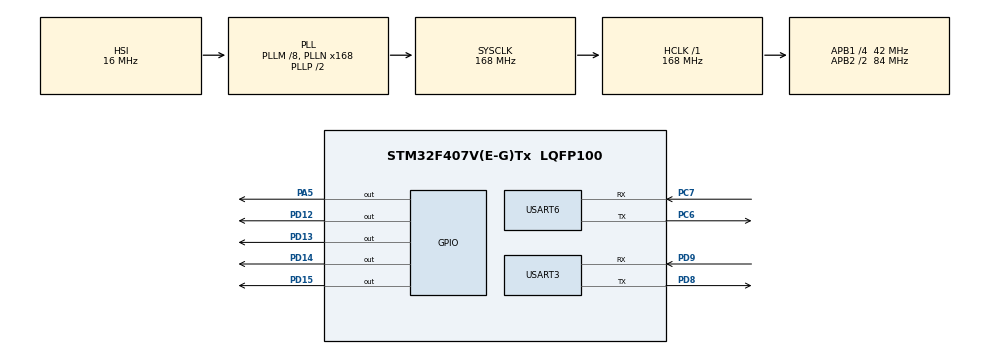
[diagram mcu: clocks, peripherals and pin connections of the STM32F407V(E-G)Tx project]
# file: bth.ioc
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Mcu.Family=STM32F4
Mcu.Name=STM32F407V(E-G)Tx
Mcu.Package=LQFP100
NVIC.PriorityGroup=NVIC_PRIORITYGROUP_4
NVIC.TIM2_IRQn=true\:0\:0\:false\:false\:true\:true\:true\:true
NVIC.USART3_IRQn=true\:0\:0\:false\:false\:true\:true\:true\:true
NVIC.USART6_IRQn=true\:0\:0\:false\:false\:true\:true\:true\:true
PA13.Mode=Serial_Wire
PA13.Signal=SYS_JTMS-SWDIO
PA14.Mode=Serial_Wire
PA14.Signal=SYS_JTCK-SWCLK
PA5.Signal=GPIO_Output
PC6.Mode=Asynchronous
PC6.Signal=USART6_TX
PC7.Mode=Asynchronous
PC7.Signal=USART6_RX
PD12.Signal=GPIO_Output
PD13.Signal=GPIO_Output
PD14.Signal=GPIO_Output
PD15.Signal=GPIO_Output
PD8.Mode=Asynchronous
PD8.Signal=USART3_TX
PD9.Mode=Asynchronous
PD9.Signal=USART3_RX
PH0-OSC_IN.Mode=HSE-External-Oscillator
PH0-OSC_IN.Signal=RCC_OSC_IN
PH1-OSC_OUT.Mode=HSE-External-Oscillator
PH1-OSC_OUT.Signal=RCC_OSC_OUT
ProjectManager.HeapSize=0x200
ProjectManager.StackSize=0x400
ProjectManager.TargetToolchain=STM32CubeIDE
RCC.48MHZClocksFreq_Value=84000000
RCC.AHBFreq_Value=168000000
RCC.APB1CLKDivider=RCC_HCLK_DIV4
RCC.APB1Freq_Value=42000000
RCC.APB1TimFreq_Value=84000000
RCC.APB2CLKDivider=RCC_HCLK_DIV2
RCC.APB2Freq_Value=84000000
RCC.APB2TimFreq_Value=168000000
RCC.CortexFreq_Value=168000000
RCC.HCLKFreq_Value=168000000
RCC.HSE_VALUE=25000000
RCC.HSI_VALUE=16000000
RCC.LSE_VALUE=32768
RCC.PLLM=8
RCC.PLLN=168
RCC.SYSCLKFreq_VALUE=168000000
RCC.SYSCLKSource=RCC_SYSCLKSOURCE_PLLCLK
RCC.VCOOutputFreq_Value=336000000
USART3.VirtualMode=VM_ASYNC
USART6.VirtualMode=VM_ASYNC
VP_TIM2_VS_ClockSourceINT.Mode=Internal
board=custom

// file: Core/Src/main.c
/* USER CODE BEGIN Header */
/**
  ******************************************************************************
  * @file           : main.c
  * @brief          : Main program body
  ******************************************************************************
  * @attention
  *
  * Copyright (c) 2024 STMicroelectronics.
  * All rights reserved.
  *
  * This software is licensed under terms that can be found in the LICENSE file
  * in the root directory of this software component.
  * If no LICENSE file comes with this software, it is provided AS-IS.
  *
  ******************************************************************************
  */
/* USER CODE END Header */
#include "main.h"

/* USER CODE BEGIN Includes */
#include <string.h>
/* USER CODE END Includes */

TIM_HandleTypeDef htim2;

UART_HandleTypeDef huart3;
UART_HandleTypeDef huart6;

/* USER CODE BEGIN PV */

char *commands[] =

{

  "AT\r\n",

  "AT+VERSION\r\n",
  "AT+UART\r\n"

};
uint8_t received = 0;
uint8_t count = 0;
uint8_t timeExpired = 0;
/* USER CODE END PV */

void SystemClock_Config(void);
static void MX_GPIO_Init(void);
static void MX_USART6_UART_Init(void);
static void MX_USART3_UART_Init(void);
static void MX_TIM2_Init(void);

/* USER CODE BEGIN 0 */

void print (const uint8_t *msg)
{
	HAL_UART_Transmit(&huart6,(uint8_t*)msg,strlen(msg), 0x1000);
}

/*void checkModule(const uint8_t *command)
{
	HAL_UARTEx_ReceiveToIdle_IT(&huart3,(uint8_t*)str1,60);
	HAL_UART_Transmit(&huart3,(uint8_t*)command, 12, 0x1000) == HAL_OK? print((uint8_t*)"transmit success\n"):print((uint8_t*)"transmit error\n");

	while(!received && !timeExpired)
	{
		print((uint8_t*)"waiting for an answer...\n");
	}
	received = 0;
	print((uint8_t*)"received message:");
		  	 print((uint8_t*)str1);

		  int len = strlen(str1);
		  print(&len);
		  int pause = 0;
}*/
uint8_t str1[60]={0};
char getName()
{

	HAL_UARTEx_ReceiveToIdle_IT(&huart3,(uint8_t*)str1,60);
	HAL_UART_Transmit(&huart3,(uint8_t*)"AT+DEV_NAME\r\n", strlen("AT+DEV_NAME\r\n"), 0x1000) == HAL_OK? print((uint8_t*)"transmit success\n"):print((uint8_t*)"transmit error\n");

	//HAL_TIM_Base_Start_IT(&htim1);
	timeExpired = 0;
	while(!received && !timeExpired)
	{
		print((uint8_t*)"waiting for an answer...\n");
	}
	if (timeExpired)
	{
		print((uint8_t*)"timeout\n");
	}
	received = 0;
	timeExpired = 0;
	print((uint8_t*)"received message:");
		  	 print((uint8_t*)str1);

}

uint8_t checkBthModule(uint8_t * data, uint8_t size)
{   uint8_t bytesReceived = 0;
	HAL_UART_Transmit(&huart3,(uint8_t*)"AT+VERSION\r\n", strlen("AT+VERSION\r\n"), 0x1000) == HAL_OK? print((uint8_t*)"transmit success\n"):print((uint8_t*)"transmit error\n");

	while(1)
	{
		HAL_StatusTypeDef resStatus = HAL_UART_Receive(&huart3,(uint8_t*)data, 1, 500);
		if(resStatus == HAL_OK)
		{

			bytesReceived++;
			if(bytesReceived >= size)
			{
				break;
			}
			data++;
		}
		else if (resStatus == HAL_TIMEOUT)
		{
			break;
		}

	}
	return bytesReceived;

}

/* USER CODE END 0 */

int main(void)
{

  /* MCU Configuration--------------------------------------------------------*/

  /* Reset of all peripherals, Initializes the Flash interface and the Systick. */
  HAL_Init();

  /* Configure the system clock */
  SystemClock_Config();

  /* Initialize all configured peripherals */
  MX_GPIO_Init();
  MX_USART6_UART_Init();
  MX_USART3_UART_Init();
  MX_TIM2_Init();
  /* USER CODE BEGIN 2 */

  //uint8_t result = checkBthModule(str1, 10);

  //getName( );
  //checkModule((uint8_t*)commands[1]);
  //HAL_UART_Transmit(&huart2,(uint8_t*)commands[2], 12, 0x1000) == HAL_OK? print((uint8_t*)"transmit success\n"):print((uint8_t*)"transmit error\n");
  /* USER CODE END 2 */

  /* Infinite loop */
  /* USER CODE BEGIN WHILE */

  //HAL_TIM_Base_Start_IT(&htim2);
	init();
	blinkStart(1000);
	HAL_Delay(10000);
	blinkStop();
	HAL_Delay(5000);
	blinkStart(100);
  while (1)
  {
    /* USER CODE END WHILE */

  }
}

void SystemClock_Config(void)
{
  RCC_OscInitTypeDef RCC_OscInitStruct = {0};
  RCC_ClkInitTypeDef RCC_ClkInitStruct = {0};

  /** Configure the main internal regulator output voltage
  */
  __HAL_RCC_PWR_CLK_ENABLE();
  __HAL_PWR_VOLTAGESCALING_CONFIG(PWR_REGULATOR_VOLTAGE_SCALE1);

  /** Initializes the RCC Oscillators according to the specified parameters
  * in the RCC_OscInitTypeDef structure.
  */
  RCC_OscInitStruct.OscillatorType = RCC_OSCILLATORTYPE_HSI;
  RCC_OscInitStruct.HSIState = RCC_HSI_ON;
  RCC_OscInitStruct.HSICalibrationValue = RCC_HSICALIBRATION_DEFAULT;
  RCC_OscInitStruct.PLL.PLLState = RCC_PLL_ON;
  RCC_OscInitStruct.PLL.PLLSource = RCC_PLLSOURCE_HSI;
  RCC_OscInitStruct.PLL.PLLM = 8;
  RCC_OscInitStruct.PLL.PLLN = 168;
  RCC_OscInitStruct.PLL.PLLP = RCC_PLLP_DIV2;
  RCC_OscInitStruct.PLL.PLLQ = 4;
  if (HAL_RCC_OscConfig(&RCC_OscInitStruct) != HAL_OK)
  {
    Error_Handler();
  }

  /** Initializes the CPU, AHB and APB buses clocks
  */
  RCC_ClkInitStruct.ClockType = RCC_CLOCKTYPE_HCLK|RCC_CLOCKTYPE_SYSCLK
                              |RCC_CLOCKTYPE_PCLK1|RCC_CLOCKTYPE_PCLK2;
  RCC_ClkInitStruct.SYSCLKSource = RCC_SYSCLKSOURCE_PLLCLK;
  RCC_ClkInitStruct.AHBCLKDivider = RCC_SYSCLK_DIV1;
  RCC_ClkInitStruct.APB1CLKDivider = RCC_HCLK_DIV4;
  RCC_ClkInitStruct.APB2CLKDivider = RCC_HCLK_DIV2;

  if (HAL_RCC_ClockConfig(&RCC_ClkInitStruct, FLASH_LATENCY_5) != HAL_OK)
  {
    Error_Handler();
  }
}

static void MX_TIM2_Init(void)
{

  TIM_ClockConfigTypeDef sClockSourceConfig = {0};
  TIM_MasterConfigTypeDef sMasterConfig = {0};

  htim2.Instance = TIM2;
  htim2.Init.Prescaler = 0;
  htim2.Init.CounterMode = TIM_COUNTERMODE_UP;
  htim2.Init.Period = 4294967295;
  htim2.Init.ClockDivision = TIM_CLOCKDIVISION_DIV1;
  htim2.Init.AutoReloadPreload = TIM_AUTORELOAD_PRELOAD_DISABLE;
  if (HAL_TIM_Base_Init(&htim2) != HAL_OK)
  {
    Error_Handler();
  }
  sClockSourceConfig.ClockSource = TIM_CLOCKSOURCE_INTERNAL;
  if (HAL_TIM_ConfigClockSource(&htim2, &sClockSourceConfig) != HAL_OK)
  {
    Error_Handler();
  }
  sMasterConfig.MasterOutputTrigger = TIM_TRGO_RESET;
  sMasterConfig.MasterSlaveMode = TIM_MASTERSLAVEMODE_DISABLE;
  if (HAL_TIMEx_MasterConfigSynchronization(&htim2, &sMasterConfig) != HAL_OK)
  {
    Error_Handler();
  }

}

static void MX_USART3_UART_Init(void)
{

  huart3.Instance = USART3;
  huart3.Init.BaudRate = 115200;
  huart3.Init.WordLength = UART_WORDLENGTH_8B;
  huart3.Init.StopBits = UART_STOPBITS_1;
  huart3.Init.Parity = UART_PARITY_NONE;
  huart3.Init.Mode = UART_MODE_TX_RX;
  huart3.Init.HwFlowCtl = UART_HWCONTROL_NONE;
  huart3.Init.OverSampling = UART_OVERSAMPLING_16;
  if (HAL_UART_Init(&huart3) != HAL_OK)
  {
    Error_Handler();
  }

}

static void MX_USART6_UART_Init(void)
{

  huart6.Instance = USART6;
  huart6.Init.BaudRate = 115200;
  huart6.Init.WordLength = UART_WORDLENGTH_8B;
  huart6.Init.StopBits = UART_STOPBITS_1;
  huart6.Init.Parity = UART_PARITY_NONE;
  huart6.Init.Mode = UART_MODE_TX_RX;
  huart6.Init.HwFlowCtl = UART_HWCONTROL_NONE;
  huart6.Init.OverSampling = UART_OVERSAMPLING_16;
  if (HAL_UART_Init(&huart6) != HAL_OK)
  {
    Error_Handler();
  }

}

static void MX_GPIO_Init(void)
{
  GPIO_InitTypeDef GPIO_InitStruct = {0};

  /* GPIO Ports Clock Enable */
  __HAL_RCC_GPIOH_CLK_ENABLE();
  __HAL_RCC_GPIOA_CLK_ENABLE();
  __HAL_RCC_GPIOD_CLK_ENABLE();
  __HAL_RCC_GPIOC_CLK_ENABLE();

  /*Configure GPIO pin Output Level */
  HAL_GPIO_WritePin(GPIOA, GPIO_PIN_5, GPIO_PIN_RESET);

  /*Configure GPIO pin Output Level */
  HAL_GPIO_WritePin(GPIOD, GPIO_PIN_12|GPIO_PIN_13|GPIO_PIN_14|GPIO_PIN_15, GPIO_PIN_RESET);

  /*Configure GPIO pin : PA5 */
  GPIO_InitStruct.Pin = GPIO_PIN_5;
  GPIO_InitStruct.Mode = GPIO_MODE_OUTPUT_PP;
  GPIO_InitStruct.Pull = GPIO_NOPULL;
  GPIO_InitStruct.Speed = GPIO_SPEED_FREQ_LOW;
  HAL_GPIO_Init(GPIOA, &GPIO_InitStruct);

  /*Configure GPIO pins : PD12 PD13 PD14 PD15 */
  GPIO_InitStruct.Pin = GPIO_PIN_12|GPIO_PIN_13|GPIO_PIN_14|GPIO_PIN_15;
  GPIO_InitStruct.Mode = GPIO_MODE_OUTPUT_PP;
  GPIO_InitStruct.Pull = GPIO_NOPULL;
  GPIO_InitStruct.Speed = GPIO_SPEED_FREQ_LOW;
  HAL_GPIO_Init(GPIOD, &GPIO_InitStruct);

}

/* USER CODE BEGIN 4 */
void HAL_UARTEx_RxEventCallback(UART_HandleTypeDef *huart, uint16_t Size)////void HAL_UART_RxCpltCallback(UART_HandleTypeDef *huart)
{
  if(huart==&huart3)

  {
		//print((uint8_t*)"data from callback:");
				  	 //print((uint8_t*)str1);
				  	//print((uint8_t*)"\n");
	  received = 1;

	  HAL_GPIO_WritePin(GPIOD, GPIO_PIN_13, GPIO_PIN_SET);

	//HAL_UARTEx_ReceiveToIdle_IT(&huart3,(uint8_t*)str1,60);

    //UART3_RxCpltCallback();

  }

}

/*void HAL_TIM_PeriodElapsedCallback(TIM_HandleTypeDef *htim)
{
        if(htim->Instance == TIM2) //check if the interrupt comes from TIM1
        {
        	HAL_GPIO_TogglePin(GPIOD, GPIO_PIN_13);
        	HAL_TIM_Base_Start_IT(&htim2);
        }
}*/
/* USER CODE END 4 */

void Error_Handler(void)
{
  __disable_irq();
  while (1)
  {
  }
}
